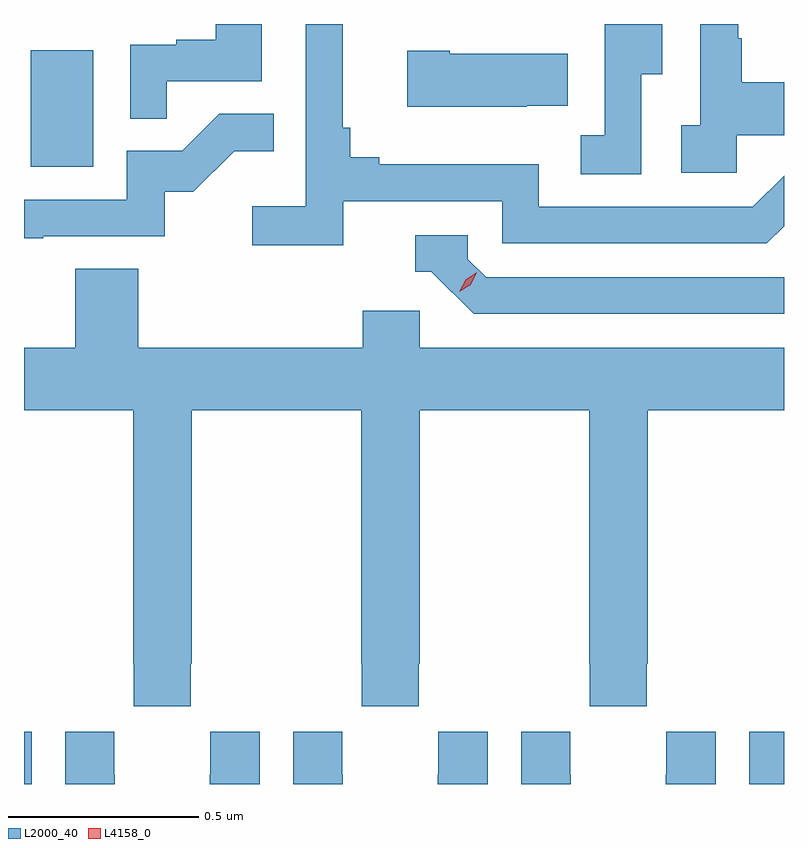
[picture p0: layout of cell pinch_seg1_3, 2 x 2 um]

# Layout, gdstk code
import gdstk
lib = gdstk.Library(unit=1e-6, precision=1e-09)
def R(c, l, rs):  # rectangles x0, y0, x1, y1
    for r in rs: c.add(gdstk.rectangle(r[:2], r[2:], *l))
def P(c, l, *ps):  # polygons
    for p in ps: c.add(gdstk.Polygon(p, *l))
L2000_40 = (2000, 40)
L4158_0 = (4158, 0)

pinch_seg1_3 = lib.new_cell('pinch_seg1_3')
R(pinch_seg1_3, L2000_40, [(1090.376,574.724,1090.396,574.861), (1092.284,574.724,1092.376,574.861), (1090.394,576.348,1090.558,576.655)])
P(pinch_seg1_3, L2000_40, [(1090.751,576.573),(1091.002,576.573),(1091.002,576.724),(1090.88,576.724),(1090.88,576.682),(1090.777,576.682),(1090.777,576.669),(1090.656,576.669),(1090.656,576.475),(1090.751,576.475)],
  [(1092,576.592),(1092.055,576.592),(1092.055,576.724),(1091.904,576.724),(1091.904,576.431),(1091.841,576.431),(1091.841,576.328),(1092,576.328)],
  [(1092.252,576.431),(1092.376,576.431),(1092.376,576.571),(1092.265,576.571),(1092.265,576.686),(1092.255,576.686),(1092.255,576.724),(1092.156,576.724),(1092.156,576.458),(1092.105,576.458),(1092.105,576.333),(1092.252,576.333)],
  [(1091.216,576.258),(1091.634,576.258),(1091.634,576.147),(1092.331,576.147),(1092.376,576.192),(1092.376,576.325),(1092.294,576.243),(1091.73,576.243),(1091.73,576.355),(1091.311,576.355),(1091.311,576.374),(1091.234,576.374),(1091.234,576.451),(1091.215,576.451),(1091.215,576.724),(1091.118,576.724),(1091.118,576.244),(1090.977,576.244),(1090.977,576.142),(1091.216,576.142)],
  [(1091.699,576.509),(1091.807,576.509),(1091.807,576.646),(1091.497,576.646),(1091.497,576.654),(1091.385,576.654),(1091.385,576.506),(1091.699,576.506)],
  [(1090.427,576.165),(1090.746,576.165),(1090.746,576.282),(1090.822,576.282),(1090.929,576.389),(1091.033,576.389),(1091.033,576.488),(1090.89,576.488),(1090.792,576.39),(1090.647,576.39),(1090.647,576.261),(1090.376,576.261),(1090.376,576.16),(1090.427,576.16)],
  [(1092.376,576.058),(1092.375,576.057),(1091.592,576.057),(1091.544,576.105),(1091.544,576.168),(1091.405,576.168),(1091.405,576.072),(1091.448,576.072),(1091.559,575.961),(1092.376,575.961)],
  [(1090.815,575.041),(1090.818,575.041),(1090.818,575.708),(1091.263,575.708),(1091.263,575.041),(1091.265,575.041),(1091.265,574.929),(1091.415,574.929),(1091.415,575.041),(1091.418,575.041),(1091.418,575.708),(1091.863,575.708),(1091.863,575.041),(1091.865,575.041),(1091.865,574.929),(1092.015,574.929),(1092.015,575.041),(1092.018,575.041),(1092.018,575.708),(1092.376,575.708),(1092.376,575.872),(1091.418,575.872),(1091.418,575.97),(1091.267,575.97),(1091.267,575.872),(1090.676,575.872),(1090.676,576.08),(1090.511,576.08),(1090.511,575.872),(1090.376,575.872),(1090.376,575.708),(1090.663,575.708),(1090.663,575.041),(1090.665,575.041),(1090.665,574.929),(1090.815,574.929)],
  [(1090.996,574.861),(1090.866,574.861),(1090.866,574.748),(1090.865,574.748),(1090.865,574.724),(1090.996,574.724)],
  [(1092.196,574.861),(1092.066,574.861),(1092.066,574.748),(1092.065,574.748),(1092.065,574.724),(1092.196,574.724)],
  [(1091.815,574.748),(1091.814,574.748),(1091.814,574.861),(1091.684,574.861),(1091.684,574.724),(1091.815,574.724)],
  [(1091.596,574.861),(1091.466,574.861),(1091.466,574.748),(1091.465,574.748),(1091.465,574.724),(1091.596,574.724)],
  [(1091.215,574.748),(1091.214,574.748),(1091.214,574.861),(1091.084,574.861),(1091.084,574.724),(1091.215,574.724)],
  [(1090.615,574.748),(1090.614,574.748),(1090.614,574.861),(1090.484,574.861),(1090.484,574.724),(1090.615,574.724)])
P(pinch_seg1_3, L4158_0, [(1091.522,576.019),(1091.522,576.019),(1091.538,576.051),(1091.568,576.071),(1091.568,576.071),(1091.568,576.07),(1091.552,576.038),(1091.522,576.019)])

lib.write_gds('pinch_seg1_3.gds')
